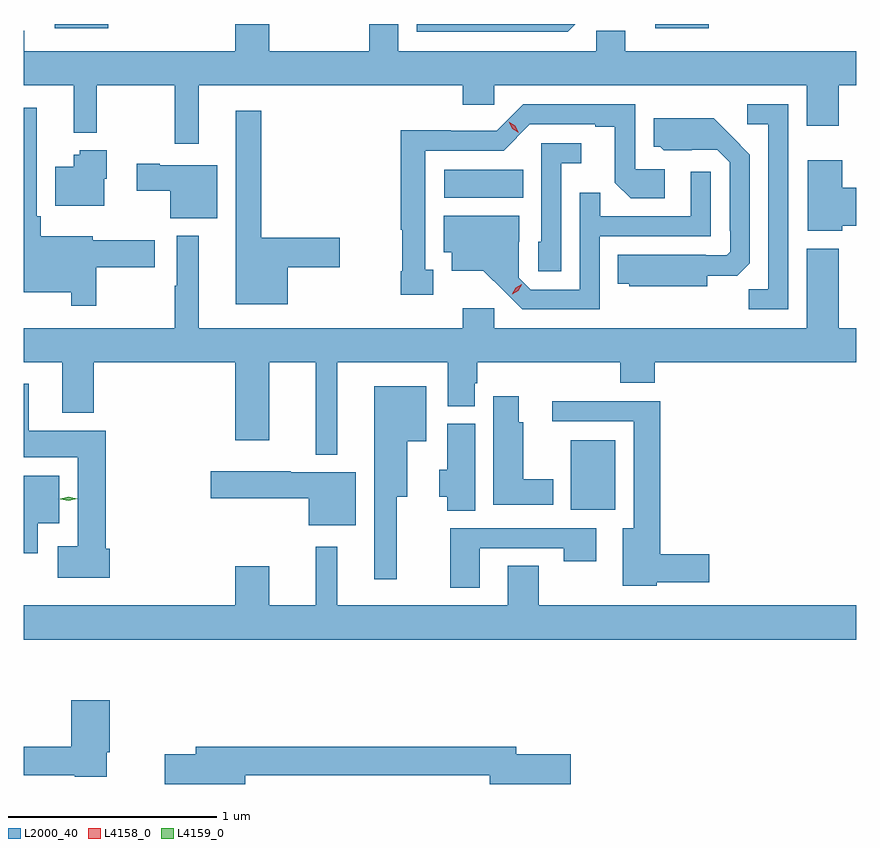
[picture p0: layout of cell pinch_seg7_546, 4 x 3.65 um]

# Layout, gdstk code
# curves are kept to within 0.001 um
import gdstk
lib = gdstk.Library(unit=1e-6, precision=1e-09)
def R(c, l, rs):  # rectangles x0, y0, x1, y1
    for r in rs: c.add(gdstk.rectangle(r[:2], r[2:], *l))
def P(c, l, *ps):  # polygons
    for p in ps: c.add(gdstk.Polygon(p, *l))
L2000_40 = (2000, 40)
L4158_0 = (4158, 0)
L4159_0 = (4159, 0)

pinch_seg7_546 = lib.new_cell('pinch_seg7_546')
R(pinch_seg7_546, L2000_40, [(130.658,1054.52,130.87,1054.855), (130.05,1056.02,130.43,1056.154), (128.178,1056.834,128.435,1056.854), (131.064,1056.834,131.321,1056.854), (129.392,1056.852,129.562,1056.854)])
P(pinch_seg7_546, L2000_40, [(130.68,1056.854),(129.918,1056.854),(129.918,1056.816),(130.642,1056.816)],
  [(128.869,1056.56),(130.139,1056.56),(130.139,1056.467),(130.29,1056.467),(130.29,1056.56),(131.792,1056.56),(131.792,1056.366),(131.945,1056.366),(131.945,1056.56),(132.029,1056.56),(132.029,1056.724),(130.918,1056.724),(130.918,1056.822),(130.779,1056.822),(130.779,1056.724),(129.829,1056.724),(129.829,1056.854),(129.689,1056.854),(129.689,1056.724),(129.208,1056.724),(129.208,1056.854),(129.044,1056.854),(129.044,1056.724),(128.032,1056.724),(128.032,1056.822),(128.029,1056.822),(128.029,1056.56),(128.27,1056.56),(128.27,1056.332),(128.38,1056.332),(128.38,1056.56),(128.755,1056.56),(128.755,1056.279),(128.869,1056.279)],
  [(131.703,1056.468),(131.505,1056.468),(131.505,1056.372),(131.607,1056.372),(131.607,1055.579),(131.512,1055.579),(131.512,1055.484),(131.703,1055.484)],
  [(129.997,1055.673),(129.958,1055.673),(129.958,1056.246),(130.335,1056.246),(130.461,1056.372),(130.775,1056.372),(130.775,1056.36),(130.869,1056.36),(130.869,1056.092),(130.945,1056.016),(131.11,1056.016),(131.11,1056.156),(130.968,1056.156),(130.968,1056.468),(130.428,1056.468),(130.302,1056.342),(130.08,1056.342),(130.08,1056.344),(129.84,1056.344),(129.84,1055.865),(129.847,1055.865),(129.847,1055.665),(129.84,1055.665),(129.84,1055.553),(129.997,1055.553)],
  [(128.377,1055.686),(128.659,1055.686),(128.659,1055.815),(128.361,1055.815),(128.361,1055.833),(128.111,1055.833),(128.111,1055.929),(128.091,1055.929),(128.091,1056.451),(128.029,1056.451),(128.029,1055.564),(128.256,1055.564),(128.256,1055.499),(128.377,1055.499)],
  [(129.298,1055.686),(129.547,1055.686),(129.547,1055.828),(129.169,1055.828),(129.169,1056.436),(129.047,1056.436),(129.047,1055.507),(129.298,1055.507)],
  [(131.314,1055.645),(131.458,1055.645),(131.517,1055.704),(131.517,1056.226),(131.345,1056.4),(131.057,1056.4),(131.057,1056.264),(131.088,1056.264),(131.104,1056.248),(131.361,1056.249),(131.421,1056.189),(131.421,1055.86),(131.424,1055.86),(131.424,1055.76),(131.406,1055.742),(131.306,1055.742),(131.306,1055.746),(130.882,1055.746),(130.882,1055.606),(130.938,1055.606),(130.938,1055.594),(131.314,1055.594)],
  [(130.611,1056.185),(130.708,1056.185),(130.708,1056.282),(130.515,1056.282),(130.515,1055.808),(130.5,1055.808),(130.5,1055.665),(130.611,1055.665)],
  [(128.416,1056.111),(128.428,1056.111),(128.428,1056.247),(128.298,1056.247),(128.298,1056.225),(128.27,1056.225),(128.27,1056.169),(128.18,1056.169),(128.18,1055.981),(128.416,1055.981)],
  [(131.962,1055.885),(132.029,1055.885),(132.029,1056.068),(131.962,1056.068),(131.962,1056.199),(131.795,1056.199),(131.795,1055.861),(131.962,1055.861)],
  [(128.959,1056.175),(128.683,1056.175),(128.683,1056.183),(128.571,1056.183),(128.571,1056.053),(128.732,1056.053),(128.732,1055.921),(128.959,1055.921)],
  [(130.797,1055.835),(131.331,1055.835),(131.331,1056.145),(131.235,1056.145),(131.235,1055.931),(130.799,1055.931),(130.799,1056.044),(130.701,1056.044),(130.701,1055.577),(130.464,1055.577),(130.407,1055.634),(130.407,1055.808),(130.411,1055.808),(130.411,1055.932),(130.046,1055.932),(130.046,1055.756),(130.085,1055.756),(130.085,1055.669),(130.237,1055.669),(130.424,1055.484),(130.797,1055.484)],
  [(129.535,1055.228),(130.067,1055.228),(130.067,1055.017),(130.195,1055.017),(130.195,1055.127),(130.208,1055.127),(130.208,1055.228),(130.895,1055.228),(130.895,1055.129),(131.06,1055.129),(131.06,1055.228),(132.029,1055.228),(132.029,1055.392),(131.945,1055.392),(131.945,1055.773),(131.792,1055.773),(131.792,1055.392),(130.29,1055.392),(130.29,1055.488),(130.139,1055.488),(130.139,1055.392),(128.869,1055.392),(128.869,1055.836),(128.765,1055.836),(128.765,1055.597),(128.755,1055.597),(128.755,1055.392),(128.029,1055.392),(128.029,1055.228),(128.213,1055.228),(128.213,1054.985),(128.366,1054.985),(128.366,1055.228),(129.044,1055.228),(129.044,1054.854),(129.208,1054.854),(129.208,1055.228),(129.431,1055.228),(129.431,1054.784),(129.535,1054.784)],
  [(128.441,1054.332),(128.423,1054.332),(128.423,1054.9),(128.053,1054.9),(128.053,1055.125),(128.029,1055.125),(128.029,1054.772),(128.288,1054.772),(128.288,1054.345),(128.193,1054.345),(128.193,1054.193),(128.441,1054.193)],
  [(129.82,1054.583),(129.871,1054.583),(129.871,1054.85),(129.964,1054.85),(129.964,1055.113),(129.713,1055.113),(129.713,1054.185),(129.82,1054.185)],
  [(130.573,1054.666),(130.429,1054.666),(130.429,1054.941),(130.408,1054.941),(130.408,1055.065),(130.286,1055.065),(130.286,1054.544),(130.573,1054.544)],
  [(131.07,1054.172),(131.323,1054.172),(131.323,1054.307),(131.087,1054.307),(131.087,1055.042),(130.569,1055.042),(130.569,1054.944),(130.961,1054.944),(130.961,1054.432),(130.907,1054.432),(130.907,1054.154),(131.07,1054.154)],
  [(130.198,1054.932),(130.064,1054.932),(130.064,1054.713),(130.025,1054.713),(130.025,1054.583),(130.064,1054.583),(130.064,1054.516),(130.198,1054.516)],
  [(129.625,1054.699),(129.312,1054.699),(129.312,1054.705),(128.928,1054.705),(128.928,1054.576),(129.398,1054.576),(129.398,1054.445),(129.625,1054.445)],
  [(128.095,1054.454),(128.2,1054.454),(128.2,1054.684),(128.029,1054.684),(128.029,1054.311),(128.095,1054.311)],
  [(130.219,1054.335),(130.624,1054.335),(130.624,1054.272),(130.78,1054.272),(130.78,1054.431),(130.079,1054.431),(130.079,1054.146),(130.219,1054.146)],
  [(132.029,1054.06),(130.503,1054.06),(130.503,1054.25),(130.355,1054.25),(130.355,1054.06),(129.535,1054.06),(129.535,1054.342),(129.431,1054.342),(129.431,1054.06),(129.208,1054.06),(129.208,1054.249),(129.044,1054.249),(129.044,1054.06),(128.029,1054.06),(128.029,1053.896),(132.029,1053.896)],
  [(128.428,1053.355),(128.441,1053.355),(128.441,1053.604),(128.258,1053.604),(128.258,1053.38),(128.029,1053.38),(128.029,1053.244),(128.274,1053.244),(128.274,1053.236),(128.428,1053.236)],
  [(129.094,1053.244),(130.268,1053.244),(130.268,1053.202),(130.657,1053.202),(130.657,1053.344),(130.396,1053.344),(130.396,1053.38),(128.855,1053.38),(128.855,1053.344),(128.706,1053.344),(128.706,1053.202),(129.094,1053.202)])
P(pinch_seg7_546, L4158_0, [(130.375,1055.556),(130.375,1055.557),(130.392,1055.587),(130.422,1055.603),(130.422,1055.603),(130.422,1055.602),(130.406,1055.572),(130.375,1055.556)],
  [(130.407,1056.332),(130.376,1056.351),(130.359,1056.384),(130.359,1056.384),(130.359,1056.384),(130.39,1056.365),(130.408,1056.332),(130.408,1056.332)])
P(pinch_seg7_546, L4159_0, [(128.245,1054.562),(128.204,1054.571),(128.204,1054.571),(128.204,1054.572),(128.245,1054.582),(128.285,1054.572),(128.285,1054.572),(128.285,1054.572)])

lib.write_gds('pinch_seg7_546.gds')
